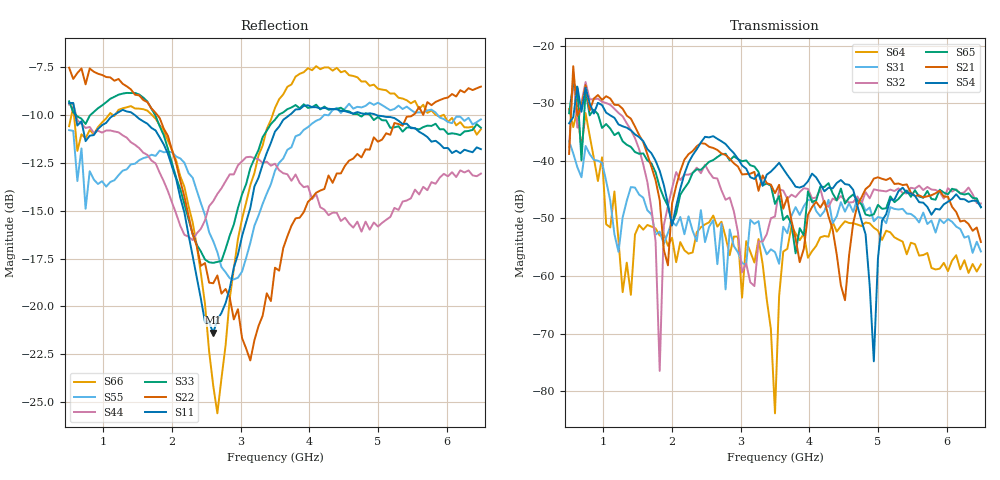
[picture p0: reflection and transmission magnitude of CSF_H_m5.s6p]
!Keysight Technologies,M9804A,MY58100912,A.14.10.03
!Date: Thursday, April 27, 2023 10:28:33
!Correction: S11(C  6-Port  )
!S12(C  6-Port  )
!S13(C  6-Port  )
!S14(C  6-Port  )
!S15(C  6-Port  )
!S16(C  6-Port  )
!S21(C  6-Port  )
!S22(C  6-Port  )
!S23(C  6-Port  )
!S24(C  6-Port  )
!S25(C  6-Port  )
!S26(C  6-Port  )
!S31(C  6-Port  )
!S32(C  6-Port  )
!S33(C  6-Port  )
!S34(C  6-Port  )
!S35(C  6-Port  )
!S36(C  6-Port  )
!S41(C  6-Port  )
!S42(C  6-Port  )
!S43(C  6-Port  )
!S44(C  6-Port  )
!S45(C  6-Port  )
!S46(C  6-Port  )
!S51(C  6-Port  )
!S52(C  6-Port  )
!S53(C  6-Port  )
!S54(C  6-Port  )
!S55(C  6-Port  )
!S56(C  6-Port  )
!S61(C  6-Port  )
!S62(C  6-Port  )
!S63(C  6-Port  )
!S64(C  6-Port  )
!S65(C  6-Port  )
!S66(C  6-Port  )
!S6P File: Measurement: :
# Hz S  RI  R 50
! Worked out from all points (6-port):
!   101 points, 500 MHz to 6.5 GHz, reference 50 ohm
!   strongest paths, dB at 500 MHz, 2 GHz, 3.5 GHz, 5 GHz, 6.5 GHz:
!     S54: -33.5, -51.2, -41.1, -56.9, -48.0
!     S21: -38.8, -47.4, -45.6, -42.9, -54.1
!     S65: -31.7, -50.9, -47.5, -47.6, -48.1
!     S32: -37.7, -44.7, -49.6, -45.1, -47.4
!     S31: -36.6, -50.5, -55.8, -49.8, -55.7
!     S64: -31.0, -53.3, -83.8, -52.1, -58.0
!   lowest |S11| = -21.4 dB at 2.6 GHz (marker M1), VSWR 1.19, Z = 42.4 + j2.24 ohm
!   |S11| at or under -10 dB: 592.7 MHz to 1.149 GHz (556.1 MHz wide, 63.9 % of centre); 1.462 GHz to 3.708 GHz (2.246 GHz wide, 86.9 % of centre); 4.986 GHz to end of sweep
